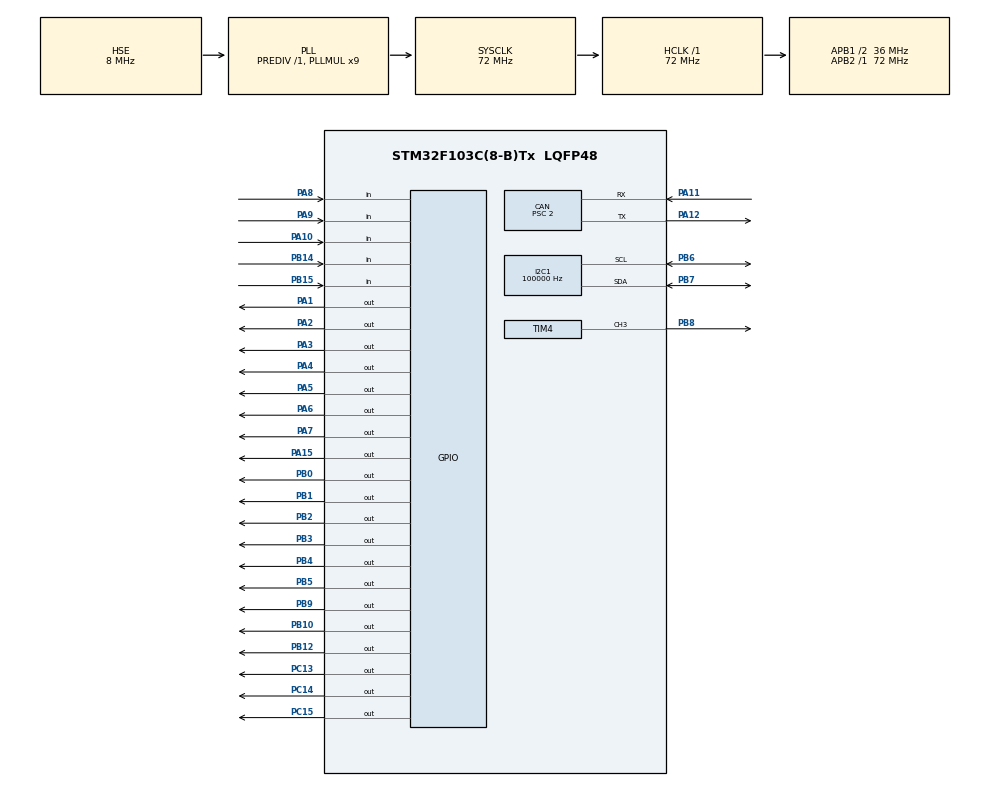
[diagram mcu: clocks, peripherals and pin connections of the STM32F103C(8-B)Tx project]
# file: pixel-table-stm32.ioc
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CAN.ABOM=ENABLE
CAN.BS1=CAN_BS1_15TQ
CAN.BS2=CAN_BS2_2TQ
CAN.CalculateBaudRate=1000000
CAN.CalculateTimeBit=1000
CAN.CalculateTimeQuantum=55.55555555555556
CAN.Mode=CAN_MODE_NORMAL
CAN.Prescaler=2
Dma.Request0=TIM4_CH3
Dma.TIM4_CH3.0.Direction=DMA_MEMORY_TO_PERIPH
Dma.TIM4_CH3.0.Instance=DMA1_Channel5
Dma.TIM4_CH3.0.MemDataAlignment=DMA_MDATAALIGN_BYTE
Dma.TIM4_CH3.0.MemInc=DMA_MINC_ENABLE
Dma.TIM4_CH3.0.Mode=DMA_CIRCULAR
Dma.TIM4_CH3.0.PeriphDataAlignment=DMA_PDATAALIGN_WORD
Dma.TIM4_CH3.0.PeriphInc=DMA_PINC_DISABLE
Dma.TIM4_CH3.0.Priority=DMA_PRIORITY_LOW
I2C1.ClockSpeed=100000
I2C1.I2C_Mode=I2C_Standard
Mcu.Family=STM32F1
Mcu.Name=STM32F103C(8-B)Tx
Mcu.Package=LQFP48
NVIC.DMA1_Channel5_IRQn=true\:0\:0\:false\:false\:true\:false\:true\:true
NVIC.PriorityGroup=NVIC_PRIORITYGROUP_4
NVIC.TIM1_UP_IRQn=true\:1\:0\:true\:false\:true\:true\:true\:true
NVIC.USB_LP_CAN1_RX0_IRQn=true\:1\:0\:true\:false\:true\:true\:true\:true
PA1.GPIO_ModeDefaultOutputPP=GPIO_MODE_OUTPUT_PP
PA1.GPIO_PuPd=GPIO_NOPULL
PA1.PinState=GPIO_PIN_SET
PA1.Signal=GPIO_Output
PA10.GPIO_PuPd=GPIO_PULLUP
PA10.Signal=GPIO_Input
PA11.Mode=CAN_Activate
PA11.Signal=CAN_RX
PA12.Mode=CAN_Activate
PA12.Signal=CAN_TX
PA13.Mode=Serial_Wire
PA13.Signal=SYS_JTMS-SWDIO
PA14.Mode=Serial_Wire
PA14.Signal=SYS_JTCK-SWCLK
PA15.GPIO_ModeDefaultOutputPP=GPIO_MODE_OUTPUT_PP
PA15.GPIO_PuPd=GPIO_NOPULL
PA15.PinState=GPIO_PIN_SET
PA15.Signal=GPIO_Output
PA2.GPIO_ModeDefaultOutputPP=GPIO_MODE_OUTPUT_PP
PA2.GPIO_PuPd=GPIO_NOPULL
PA2.PinState=GPIO_PIN_SET
PA2.Signal=GPIO_Output
PA3.GPIO_ModeDefaultOutputPP=GPIO_MODE_OUTPUT_PP
PA3.GPIO_PuPd=GPIO_NOPULL
PA3.PinState=GPIO_PIN_SET
PA3.Signal=GPIO_Output
PA4.GPIO_ModeDefaultOutputPP=GPIO_MODE_OUTPUT_PP
PA4.GPIO_PuPd=GPIO_NOPULL
PA4.PinState=GPIO_PIN_SET
PA4.Signal=GPIO_Output
PA5.GPIO_ModeDefaultOutputPP=GPIO_MODE_OUTPUT_PP
PA5.GPIO_PuPd=GPIO_NOPULL
PA5.PinState=GPIO_PIN_SET
PA5.Signal=GPIO_Output
PA6.GPIO_ModeDefaultOutputPP=GPIO_MODE_OUTPUT_PP
PA6.GPIO_PuPd=GPIO_NOPULL
PA6.PinState=GPIO_PIN_SET
PA6.Signal=GPIO_Output
PA7.GPIO_ModeDefaultOutputPP=GPIO_MODE_OUTPUT_PP
PA7.GPIO_PuPd=GPIO_NOPULL
PA7.PinState=GPIO_PIN_SET
PA7.Signal=GPIO_Output
PA8.GPIO_PuPd=GPIO_PULLUP
PA8.Signal=GPIO_Input
PA9.GPIO_PuPd=GPIO_PULLUP
PA9.Signal=GPIO_Input
PB0.GPIO_PuPd=GPIO_NOPULL
PB0.PinState=GPIO_PIN_SET
PB0.Signal=GPIO_Output
PB1.GPIO_PuPd=GPIO_NOPULL
PB1.PinState=GPIO_PIN_SET
PB1.Signal=GPIO_Output
PB10.GPIO_PuPd=GPIO_NOPULL
PB10.PinState=GPIO_PIN_SET
PB10.Signal=GPIO_Output
PB12.GPIO_PuPd=GPIO_NOPULL
PB12.PinState=GPIO_PIN_SET
PB12.Signal=GPIO_Output
PB14.GPIO_PuPd=GPIO_PULLUP
PB14.Signal=GPIO_Input
PB15.GPIO_PuPd=GPIO_PULLUP
PB15.Signal=GPIO_Input
PB2.GPIO_PuPd=GPIO_NOPULL
PB2.PinState=GPIO_PIN_SET
PB2.Signal=GPIO_Output
PB3.GPIO_PuPd=GPIO_NOPULL
PB3.PinState=GPIO_PIN_SET
PB3.Signal=GPIO_Output
PB4.GPIO_PuPd=GPIO_NOPULL
PB4.PinState=GPIO_PIN_SET
PB4.Signal=GPIO_Output
PB5.PinState=GPIO_PIN_SET
PB5.Signal=GPIO_Output
PB6.Mode=I2C
PB6.Signal=I2C1_SCL
PB7.Mode=I2C
PB7.Signal=I2C1_SDA
PB8.GPIO_Speed=GPIO_SPEED_FREQ_HIGH
PB8.Signal=S_TIM4_CH3
PB9.GPIO_PuPd=GPIO_NOPULL
PB9.PinState=GPIO_PIN_SET
PB9.Signal=GPIO_Output
PC13-TAMPER-RTC.PinState=GPIO_PIN_SET
PC13-TAMPER-RTC.Signal=GPIO_Output
PC14-OSC32_IN.GPIO_PuPd=GPIO_NOPULL
PC14-OSC32_IN.PinState=GPIO_PIN_SET
PC14-OSC32_IN.Signal=GPIO_Output
PC15-OSC32_OUT.GPIO_PuPd=GPIO_NOPULL
PC15-OSC32_OUT.PinState=GPIO_PIN_SET
PC15-OSC32_OUT.Signal=GPIO_Output
PD0-OSC_IN.Mode=HSE-External-Oscillator
PD0-OSC_IN.Signal=RCC_OSC_IN
PD1-OSC_OUT.Mode=HSE-External-Oscillator
PD1-OSC_OUT.Signal=RCC_OSC_OUT
ProjectManager.HeapSize=0x200
ProjectManager.StackSize=0x400
ProjectManager.TargetToolchain=STM32CubeIDE
RCC.ADCPresc=RCC_ADCPCLK2_DIV6
RCC.AHBFreq_Value=72000000
RCC.APB1CLKDivider=RCC_HCLK_DIV2
RCC.APB1Freq_Value=36000000
RCC.APB1TimFreq_Value=72000000
RCC.APB2Freq_Value=72000000
RCC.APB2TimFreq_Value=72000000
RCC.HCLKFreq_Value=72000000
RCC.PLLMUL=RCC_PLL_MUL9
RCC.PLLSourceVirtual=RCC_PLLSOURCE_HSE
RCC.SYSCLKFreq_VALUE=72000000
RCC.SYSCLKSource=RCC_SYSCLKSOURCE_PLLCLK
RCC.USBFreq_Value=72000000
SH.S_TIM4_CH3.0=TIM4_CH3,PWM Generation3 CH3
TIM1.Period=1000-1
TIM1.Prescaler=72-1
TIM2.Prescaler=72-1
TIM4.Channel-PWM\ Generation3\ CH3=TIM_CHANNEL_3
VP_CRC_VS_CRC.Mode=CRC_Activate
VP_TIM1_VS_ClockSourceINT.Mode=Internal
VP_TIM2_VS_ClockSourceINT.Mode=Internal
VP_TIM4_VS_ClockSourceINT.Mode=Internal
board=custom

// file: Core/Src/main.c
/* USER CODE BEGIN Header */
/**
  ******************************************************************************
  * @file           : main.c
  * @brief          : Main program body
  ******************************************************************************
  * @attention
  *
  * Copyright (c) 2022 STMicroelectronics.
  * All rights reserved.
  *
  * This software is licensed under terms that can be found in the LICENSE file
  * in the root directory of this software component.
  * If no LICENSE file comes with this software, it is provided AS-IS.
  *
  ******************************************************************************
  */
/* USER CODE END Header */
#include "main.h"

/* USER CODE BEGIN Includes */
#include "config/config.h"
#include "can/can.h"
#include "events/events.h"
#include "sensors/sensors.h"
#include "rgb/leds.h"
/* USER CODE END Includes */

CAN_HandleTypeDef hcan;

CRC_HandleTypeDef hcrc;

I2C_HandleTypeDef hi2c1;

TIM_HandleTypeDef htim1;
TIM_HandleTypeDef htim2;
TIM_HandleTypeDef htim4;
DMA_HandleTypeDef hdma_tim4_ch3;

void SystemClock_Config(void);
static void MX_GPIO_Init(void);
static void MX_DMA_Init(void);
static void MX_CAN_Init(void);
static void MX_TIM1_Init(void);
static void MX_CRC_Init(void);
static void MX_TIM2_Init(void);
static void MX_I2C1_Init(void);
static void MX_TIM4_Init(void);

int main(void)
{

  /* MCU Configuration--------------------------------------------------------*/

  /* Reset of all peripherals, Initializes the Flash interface and the Systick. */
  HAL_Init();

  /* Configure the system clock */
  SystemClock_Config();

  /* USER CODE BEGIN SysInit */
  // STM32F10xx8 STM32F10xxB Errata sheet
  //  see https://istarik.ru/blog/stm32/123.html
  __HAL_RCC_I2C1_CLK_ENABLE();
  HAL_Delay(100);
  __HAL_RCC_I2C1_FORCE_RESET();
  HAL_Delay(100);
  __HAL_RCC_I2C1_RELEASE_RESET();
  HAL_Delay(100);
  /* USER CODE END SysInit */

  /* Initialize all configured peripherals */
  MX_GPIO_Init();
  MX_DMA_Init();
  MX_CAN_Init();
  MX_TIM1_Init();
  MX_CRC_Init();
  MX_TIM2_Init();
  MX_I2C1_Init();
  MX_TIM4_Init();
  /* USER CODE BEGIN 2 */
  Clear_Events();
  Read_Global_Config();

  Init_Leds();
  CAN_Config();
  Sensors_Config();
  /* USER CODE END 2 */

  /* Infinite loop */
  /* USER CODE BEGIN WHILE */
  while (1) {
	Sensors_Event_loop();
	Led_Event_loop();
    /* USER CODE END WHILE */

  }
}

void SystemClock_Config(void)
{
  RCC_OscInitTypeDef RCC_OscInitStruct = {0};
  RCC_ClkInitTypeDef RCC_ClkInitStruct = {0};

  /** Initializes the RCC Oscillators according to the specified parameters
  * in the RCC_OscInitTypeDef structure.
  */
  RCC_OscInitStruct.OscillatorType = RCC_OSCILLATORTYPE_HSE;
  RCC_OscInitStruct.HSEState = RCC_HSE_ON;
  RCC_OscInitStruct.HSEPredivValue = RCC_HSE_PREDIV_DIV1;
  RCC_OscInitStruct.HSIState = RCC_HSI_ON;
  RCC_OscInitStruct.PLL.PLLState = RCC_PLL_ON;
  RCC_OscInitStruct.PLL.PLLSource = RCC_PLLSOURCE_HSE;
  RCC_OscInitStruct.PLL.PLLMUL = RCC_PLL_MUL9;
  if (HAL_RCC_OscConfig(&RCC_OscInitStruct) != HAL_OK)
  {
    Error_Handler();
  }

  /** Initializes the CPU, AHB and APB buses clocks
  */
  RCC_ClkInitStruct.ClockType = RCC_CLOCKTYPE_HCLK|RCC_CLOCKTYPE_SYSCLK
                              |RCC_CLOCKTYPE_PCLK1|RCC_CLOCKTYPE_PCLK2;
  RCC_ClkInitStruct.SYSCLKSource = RCC_SYSCLKSOURCE_PLLCLK;
  RCC_ClkInitStruct.AHBCLKDivider = RCC_SYSCLK_DIV1;
  RCC_ClkInitStruct.APB1CLKDivider = RCC_HCLK_DIV2;
  RCC_ClkInitStruct.APB2CLKDivider = RCC_HCLK_DIV1;

  if (HAL_RCC_ClockConfig(&RCC_ClkInitStruct, FLASH_LATENCY_2) != HAL_OK)
  {
    Error_Handler();
  }
}

static void MX_CAN_Init(void)
{

  hcan.Instance = CAN1;
  hcan.Init.Prescaler = 2;
  hcan.Init.Mode = CAN_MODE_NORMAL;
  hcan.Init.SyncJumpWidth = CAN_SJW_1TQ;
  hcan.Init.TimeSeg1 = CAN_BS1_15TQ;
  hcan.Init.TimeSeg2 = CAN_BS2_2TQ;
  hcan.Init.TimeTriggeredMode = DISABLE;
  hcan.Init.AutoBusOff = ENABLE;
  hcan.Init.AutoWakeUp = DISABLE;
  hcan.Init.AutoRetransmission = DISABLE;
  hcan.Init.ReceiveFifoLocked = DISABLE;
  hcan.Init.TransmitFifoPriority = DISABLE;
  if (HAL_CAN_Init(&hcan) != HAL_OK)
  {
    Error_Handler();
  }

}

static void MX_CRC_Init(void)
{

  hcrc.Instance = CRC;
  if (HAL_CRC_Init(&hcrc) != HAL_OK)
  {
    Error_Handler();
  }

}

static void MX_I2C1_Init(void)
{

  hi2c1.Instance = I2C1;
  hi2c1.Init.ClockSpeed = 100000;
  hi2c1.Init.DutyCycle = I2C_DUTYCYCLE_2;
  hi2c1.Init.OwnAddress1 = 0;
  hi2c1.Init.AddressingMode = I2C_ADDRESSINGMODE_7BIT;
  hi2c1.Init.DualAddressMode = I2C_DUALADDRESS_DISABLE;
  hi2c1.Init.OwnAddress2 = 0;
  hi2c1.Init.GeneralCallMode = I2C_GENERALCALL_DISABLE;
  hi2c1.Init.NoStretchMode = I2C_NOSTRETCH_DISABLE;
  if (HAL_I2C_Init(&hi2c1) != HAL_OK)
  {
    Error_Handler();
  }

}

static void MX_TIM1_Init(void)
{

  TIM_ClockConfigTypeDef sClockSourceConfig = {0};
  TIM_MasterConfigTypeDef sMasterConfig = {0};

  htim1.Instance = TIM1;
  htim1.Init.Prescaler = 72-1;
  htim1.Init.CounterMode = TIM_COUNTERMODE_UP;
  htim1.Init.Period = 1000-1;
  htim1.Init.ClockDivision = TIM_CLOCKDIVISION_DIV1;
  htim1.Init.RepetitionCounter = 0;
  htim1.Init.AutoReloadPreload = TIM_AUTORELOAD_PRELOAD_DISABLE;
  if (HAL_TIM_Base_Init(&htim1) != HAL_OK)
  {
    Error_Handler();
  }
  sClockSourceConfig.ClockSource = TIM_CLOCKSOURCE_INTERNAL;
  if (HAL_TIM_ConfigClockSource(&htim1, &sClockSourceConfig) != HAL_OK)
  {
    Error_Handler();
  }
  sMasterConfig.MasterOutputTrigger = TIM_TRGO_RESET;
  sMasterConfig.MasterSlaveMode = TIM_MASTERSLAVEMODE_DISABLE;
  if (HAL_TIMEx_MasterConfigSynchronization(&htim1, &sMasterConfig) != HAL_OK)
  {
    Error_Handler();
  }
  /* USER CODE BEGIN TIM1_Init 2 */
  if(HAL_TIM_Base_Start_IT(&htim1) != HAL_OK) Error_Handler();
  /* USER CODE END TIM1_Init 2 */

}

static void MX_TIM2_Init(void)
{

  TIM_ClockConfigTypeDef sClockSourceConfig = {0};
  TIM_MasterConfigTypeDef sMasterConfig = {0};

  htim2.Instance = TIM2;
  htim2.Init.Prescaler = 72-1;
  htim2.Init.CounterMode = TIM_COUNTERMODE_UP;
  htim2.Init.Period = 65535;
  htim2.Init.ClockDivision = TIM_CLOCKDIVISION_DIV1;
  htim2.Init.AutoReloadPreload = TIM_AUTORELOAD_PRELOAD_DISABLE;
  if (HAL_TIM_Base_Init(&htim2) != HAL_OK)
  {
    Error_Handler();
  }
  sClockSourceConfig.ClockSource = TIM_CLOCKSOURCE_INTERNAL;
  if (HAL_TIM_ConfigClockSource(&htim2, &sClockSourceConfig) != HAL_OK)
  {
    Error_Handler();
  }
  sMasterConfig.MasterOutputTrigger = TIM_TRGO_RESET;
  sMasterConfig.MasterSlaveMode = TIM_MASTERSLAVEMODE_DISABLE;
  if (HAL_TIMEx_MasterConfigSynchronization(&htim2, &sMasterConfig) != HAL_OK)
  {
    Error_Handler();
  }
  /* USER CODE BEGIN TIM2_Init 2 */
  HAL_TIM_Base_Start(&htim2);
  /* USER CODE END TIM2_Init 2 */

}

static void MX_TIM4_Init(void)
{

  TIM_ClockConfigTypeDef sClockSourceConfig = {0};
  TIM_MasterConfigTypeDef sMasterConfig = {0};
  TIM_OC_InitTypeDef sConfigOC = {0};

  htim4.Instance = TIM4;
  htim4.Init.Prescaler = 0;
  htim4.Init.CounterMode = TIM_COUNTERMODE_UP;
  htim4.Init.Period = 65535;
  htim4.Init.ClockDivision = TIM_CLOCKDIVISION_DIV1;
  htim4.Init.AutoReloadPreload = TIM_AUTORELOAD_PRELOAD_DISABLE;
  if (HAL_TIM_Base_Init(&htim4) != HAL_OK)
  {
    Error_Handler();
  }
  sClockSourceConfig.ClockSource = TIM_CLOCKSOURCE_INTERNAL;
  if (HAL_TIM_ConfigClockSource(&htim4, &sClockSourceConfig) != HAL_OK)
  {
    Error_Handler();
  }
  if (HAL_TIM_PWM_Init(&htim4) != HAL_OK)
  {
    Error_Handler();
  }
  sMasterConfig.MasterOutputTrigger = TIM_TRGO_RESET;
  sMasterConfig.MasterSlaveMode = TIM_MASTERSLAVEMODE_DISABLE;
  if (HAL_TIMEx_MasterConfigSynchronization(&htim4, &sMasterConfig) != HAL_OK)
  {
    Error_Handler();
  }
  sConfigOC.OCMode = TIM_OCMODE_PWM1;
  sConfigOC.Pulse = 0;
  sConfigOC.OCPolarity = TIM_OCPOLARITY_HIGH;
  sConfigOC.OCFastMode = TIM_OCFAST_DISABLE;
  if (HAL_TIM_PWM_ConfigChannel(&htim4, &sConfigOC, TIM_CHANNEL_3) != HAL_OK)
  {
    Error_Handler();
  }
  HAL_TIM_MspPostInit(&htim4);

}

static void MX_DMA_Init(void)
{

  /* DMA controller clock enable */
  __HAL_RCC_DMA1_CLK_ENABLE();

  /* DMA interrupt init */
  /* DMA1_Channel5_IRQn interrupt configuration */
  HAL_NVIC_SetPriority(DMA1_Channel5_IRQn, 0, 0);
  HAL_NVIC_EnableIRQ(DMA1_Channel5_IRQn);

}

static void MX_GPIO_Init(void)
{
  LL_GPIO_InitTypeDef GPIO_InitStruct = {0};

  /* GPIO Ports Clock Enable */
  LL_APB2_GRP1_EnableClock(LL_APB2_GRP1_PERIPH_GPIOC);
  LL_APB2_GRP1_EnableClock(LL_APB2_GRP1_PERIPH_GPIOD);
  LL_APB2_GRP1_EnableClock(LL_APB2_GRP1_PERIPH_GPIOA);
  LL_APB2_GRP1_EnableClock(LL_APB2_GRP1_PERIPH_GPIOB);

  /**/
  LL_GPIO_SetOutputPin(GPIOC, LL_GPIO_PIN_13|LL_GPIO_PIN_14|LL_GPIO_PIN_15);

  /**/
  LL_GPIO_SetOutputPin(GPIOA, LL_GPIO_PIN_1|LL_GPIO_PIN_2|LL_GPIO_PIN_3|LL_GPIO_PIN_4
                          |LL_GPIO_PIN_5|LL_GPIO_PIN_6|LL_GPIO_PIN_7|LL_GPIO_PIN_15);

  /**/
  LL_GPIO_SetOutputPin(GPIOB, LL_GPIO_PIN_0|LL_GPIO_PIN_1|LL_GPIO_PIN_2|LL_GPIO_PIN_10
                          |LL_GPIO_PIN_12|LL_GPIO_PIN_3|LL_GPIO_PIN_4|LL_GPIO_PIN_5
                          |LL_GPIO_PIN_9);

  /**/
  GPIO_InitStruct.Pin = LL_GPIO_PIN_13|LL_GPIO_PIN_14|LL_GPIO_PIN_15;
  GPIO_InitStruct.Mode = LL_GPIO_MODE_OUTPUT;
  GPIO_InitStruct.Speed = LL_GPIO_SPEED_FREQ_LOW;
  GPIO_InitStruct.OutputType = LL_GPIO_OUTPUT_PUSHPULL;
  LL_GPIO_Init(GPIOC, &GPIO_InitStruct);

  /**/
  GPIO_InitStruct.Pin = LL_GPIO_PIN_1|LL_GPIO_PIN_2|LL_GPIO_PIN_3|LL_GPIO_PIN_4
                          |LL_GPIO_PIN_5|LL_GPIO_PIN_6|LL_GPIO_PIN_7|LL_GPIO_PIN_15;
  GPIO_InitStruct.Mode = LL_GPIO_MODE_OUTPUT;
  GPIO_InitStruct.Speed = LL_GPIO_SPEED_FREQ_LOW;
  GPIO_InitStruct.OutputType = LL_GPIO_OUTPUT_PUSHPULL;
  LL_GPIO_Init(GPIOA, &GPIO_InitStruct);

  /**/
  GPIO_InitStruct.Pin = LL_GPIO_PIN_0|LL_GPIO_PIN_1|LL_GPIO_PIN_2|LL_GPIO_PIN_10
                          |LL_GPIO_PIN_12|LL_GPIO_PIN_3|LL_GPIO_PIN_4|LL_GPIO_PIN_5
                          |LL_GPIO_PIN_9;
  GPIO_InitStruct.Mode = LL_GPIO_MODE_OUTPUT;
  GPIO_InitStruct.Speed = LL_GPIO_SPEED_FREQ_LOW;
  GPIO_InitStruct.OutputType = LL_GPIO_OUTPUT_PUSHPULL;
  LL_GPIO_Init(GPIOB, &GPIO_InitStruct);

  /**/
  GPIO_InitStruct.Pin = LL_GPIO_PIN_14|LL_GPIO_PIN_15;
  GPIO_InitStruct.Mode = LL_GPIO_MODE_INPUT;
  GPIO_InitStruct.Pull = LL_GPIO_PULL_UP;
  LL_GPIO_Init(GPIOB, &GPIO_InitStruct);

  /**/
  GPIO_InitStruct.Pin = LL_GPIO_PIN_8|LL_GPIO_PIN_9|LL_GPIO_PIN_10;
  GPIO_InitStruct.Mode = LL_GPIO_MODE_INPUT;
  GPIO_InitStruct.Pull = LL_GPIO_PULL_UP;
  LL_GPIO_Init(GPIOA, &GPIO_InitStruct);

}

/* USER CODE BEGIN 4 */
void HAL_TIM_PeriodElapsedCallback(TIM_HandleTypeDef *htim) {
	if (htim -> Instance == TIM1) {
		Run_Events();
	}
}
/* USER CODE END 4 */

void Error_Handler(void)
{
}
